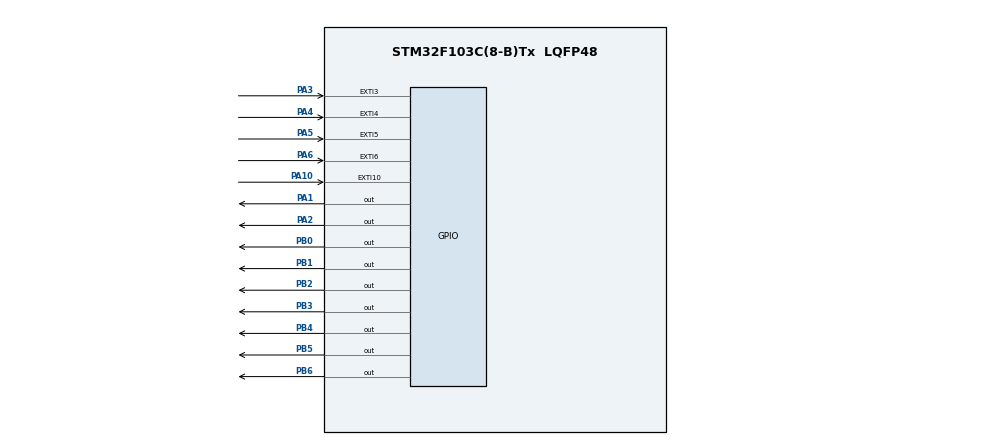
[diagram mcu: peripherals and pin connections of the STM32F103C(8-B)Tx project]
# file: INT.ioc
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Mcu.Family=STM32F1
Mcu.Name=STM32F103C(8-B)Tx
Mcu.Package=LQFP48
NVIC.EXTI15_10_IRQn=true\:2\:2\:true\:false\:true\:true\:true\:true
NVIC.EXTI3_IRQn=true\:2\:1\:true\:false\:true\:true\:true\:true
NVIC.EXTI4_IRQn=true\:1\:2\:true\:false\:true\:true\:true\:true
NVIC.EXTI9_5_IRQn=true\:2\:1\:true\:false\:true\:true\:true\:true
NVIC.PriorityGroup=NVIC_PRIORITYGROUP_2
PA1.Signal=GPIO_Output
PA10.Signal=GPXTI10
PA13.Mode=Serial_Wire
PA13.Signal=SYS_JTMS-SWDIO
PA14.Mode=Serial_Wire
PA14.Signal=SYS_JTCK-SWCLK
PA2.Signal=GPIO_Output
PA3.GPIO_ModeDefaultEXTI=GPIO_MODE_IT_FALLING
PA3.GPIO_PuPd=GPIO_PULLUP
PA3.Signal=GPXTI3
PA4.GPIO_ModeDefaultEXTI=GPIO_MODE_IT_FALLING
PA4.GPIO_PuPd=GPIO_PULLUP
PA4.Signal=GPXTI4
PA5.GPIO_ModeDefaultEXTI=GPIO_MODE_IT_FALLING
PA5.GPIO_PuPd=GPIO_PULLUP
PA5.Signal=GPXTI5
PA6.GPIO_ModeDefaultEXTI=GPIO_MODE_IT_FALLING
PA6.GPIO_PuPd=GPIO_PULLUP
PA6.Signal=GPXTI6
PB0.Signal=GPIO_Output
PB1.Signal=GPIO_Output
PB2.Signal=GPIO_Output
PB3.Signal=GPIO_Output
PB4.Signal=GPIO_Output
PB5.Signal=GPIO_Output
PB6.Signal=GPIO_Output
PD0-OSC_IN.Mode=HSE-External-Oscillator
PD0-OSC_IN.Signal=RCC_OSC_IN
PD1-OSC_OUT.Mode=HSE-External-Oscillator
PD1-OSC_OUT.Signal=RCC_OSC_OUT
ProjectManager.HeapSize=0x200
ProjectManager.StackSize=0x400
ProjectManager.TargetToolchain=STM32CubeIDE
RCC.APB1Freq_Value=8000000
RCC.APB2Freq_Value=8000000
board=custom

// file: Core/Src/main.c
/* USER CODE BEGIN Header */
/**
  ******************************************************************************
  * @file           : main.c
  * @brief          : Main program body
  ******************************************************************************
  * @attention
  *
  * Copyright (c) 2024 STMicroelectronics.
  * All rights reserved.
  *
  * This software is licensed under terms that can be found in the LICENSE file
  * in the root directory of this software component.
  * If no LICENSE file comes with this software, it is provided AS-IS.
  *
  ******************************************************************************
  */
/* USER CODE END Header */
#include "main.h"

/* USER CODE BEGIN PD */
void Print(uint8_t Val)
{
	if(Val == 0)
	{
		HAL_GPIO_WritePin(GPIOB, GPIO_PIN_0, GPIO_PIN_SET);
		HAL_GPIO_WritePin(GPIOB, GPIO_PIN_1, GPIO_PIN_RESET);
		HAL_GPIO_WritePin(GPIOB, GPIO_PIN_2, GPIO_PIN_RESET);
		HAL_GPIO_WritePin(GPIOB, GPIO_PIN_3, GPIO_PIN_RESET);
		HAL_GPIO_WritePin(GPIOB, GPIO_PIN_4, GPIO_PIN_RESET);
		HAL_GPIO_WritePin(GPIOB, GPIO_PIN_5, GPIO_PIN_RESET);
		HAL_GPIO_WritePin(GPIOB, GPIO_PIN_6, GPIO_PIN_RESET);
	}
  else if(Val == 1)
  {
		HAL_GPIO_WritePin(GPIOB, GPIO_PIN_0, GPIO_PIN_SET);
		HAL_GPIO_WritePin(GPIOB, GPIO_PIN_1, GPIO_PIN_SET);
		HAL_GPIO_WritePin(GPIOB, GPIO_PIN_2, GPIO_PIN_SET);
		HAL_GPIO_WritePin(GPIOB, GPIO_PIN_3, GPIO_PIN_SET);
		HAL_GPIO_WritePin(GPIOB, GPIO_PIN_4, GPIO_PIN_RESET);
		HAL_GPIO_WritePin(GPIOB, GPIO_PIN_5, GPIO_PIN_RESET);
		HAL_GPIO_WritePin(GPIOB, GPIO_PIN_6, GPIO_PIN_SET);
  }
  else if(Val == 2)
  {
		HAL_GPIO_WritePin(GPIOB, GPIO_PIN_0, GPIO_PIN_RESET);
		HAL_GPIO_WritePin(GPIOB, GPIO_PIN_1, GPIO_PIN_SET);
		HAL_GPIO_WritePin(GPIOB, GPIO_PIN_2, GPIO_PIN_RESET);
		HAL_GPIO_WritePin(GPIOB, GPIO_PIN_3, GPIO_PIN_RESET);
		HAL_GPIO_WritePin(GPIOB, GPIO_PIN_4, GPIO_PIN_SET);
		HAL_GPIO_WritePin(GPIOB, GPIO_PIN_5, GPIO_PIN_RESET);
		HAL_GPIO_WritePin(GPIOB, GPIO_PIN_6, GPIO_PIN_RESET);
  }
  else if(Val == 3)
  {
		HAL_GPIO_WritePin(GPIOB, GPIO_PIN_0, GPIO_PIN_RESET);
		HAL_GPIO_WritePin(GPIOB, GPIO_PIN_1, GPIO_PIN_SET);
		HAL_GPIO_WritePin(GPIOB, GPIO_PIN_2, GPIO_PIN_SET);
		HAL_GPIO_WritePin(GPIOB, GPIO_PIN_3, GPIO_PIN_RESET);
		HAL_GPIO_WritePin(GPIOB, GPIO_PIN_4, GPIO_PIN_RESET);
		HAL_GPIO_WritePin(GPIOB, GPIO_PIN_5, GPIO_PIN_RESET);
		HAL_GPIO_WritePin(GPIOB, GPIO_PIN_6, GPIO_PIN_RESET);
  }
  else if(Val == 4)
  {
		HAL_GPIO_WritePin(GPIOB, GPIO_PIN_0, GPIO_PIN_RESET);
		HAL_GPIO_WritePin(GPIOB, GPIO_PIN_1, GPIO_PIN_RESET);
		HAL_GPIO_WritePin(GPIOB, GPIO_PIN_2, GPIO_PIN_SET);
		HAL_GPIO_WritePin(GPIOB, GPIO_PIN_3, GPIO_PIN_SET);
		HAL_GPIO_WritePin(GPIOB, GPIO_PIN_4, GPIO_PIN_RESET);
		HAL_GPIO_WritePin(GPIOB, GPIO_PIN_5, GPIO_PIN_RESET);
		HAL_GPIO_WritePin(GPIOB, GPIO_PIN_6, GPIO_PIN_SET);
  }
  else if(Val == 5)
  {
		HAL_GPIO_WritePin(GPIOB, GPIO_PIN_0, GPIO_PIN_RESET);
		HAL_GPIO_WritePin(GPIOB, GPIO_PIN_1, GPIO_PIN_RESET);
		HAL_GPIO_WritePin(GPIOB, GPIO_PIN_2, GPIO_PIN_SET);
		HAL_GPIO_WritePin(GPIOB, GPIO_PIN_3, GPIO_PIN_RESET);
		HAL_GPIO_WritePin(GPIOB, GPIO_PIN_4, GPIO_PIN_RESET);
		HAL_GPIO_WritePin(GPIOB, GPIO_PIN_5, GPIO_PIN_SET);
		HAL_GPIO_WritePin(GPIOB, GPIO_PIN_6, GPIO_PIN_RESET);
  }
  else if(Val == 6)
  {
		HAL_GPIO_WritePin(GPIOB, GPIO_PIN_0, GPIO_PIN_RESET);
		HAL_GPIO_WritePin(GPIOB, GPIO_PIN_1, GPIO_PIN_RESET);
		HAL_GPIO_WritePin(GPIOB, GPIO_PIN_2, GPIO_PIN_RESET);
		HAL_GPIO_WritePin(GPIOB, GPIO_PIN_3, GPIO_PIN_RESET);
		HAL_GPIO_WritePin(GPIOB, GPIO_PIN_4, GPIO_PIN_RESET);
		HAL_GPIO_WritePin(GPIOB, GPIO_PIN_5, GPIO_PIN_SET);
		HAL_GPIO_WritePin(GPIOB, GPIO_PIN_6, GPIO_PIN_RESET);
  }
  else if(Val == 7)
  {
		HAL_GPIO_WritePin(GPIOB, GPIO_PIN_0, GPIO_PIN_SET);
		HAL_GPIO_WritePin(GPIOB, GPIO_PIN_1, GPIO_PIN_SET);
		HAL_GPIO_WritePin(GPIOB, GPIO_PIN_2, GPIO_PIN_SET);
		HAL_GPIO_WritePin(GPIOB, GPIO_PIN_3, GPIO_PIN_SET);
		HAL_GPIO_WritePin(GPIOB, GPIO_PIN_4, GPIO_PIN_RESET);
		HAL_GPIO_WritePin(GPIOB, GPIO_PIN_5, GPIO_PIN_RESET);
		HAL_GPIO_WritePin(GPIOB, GPIO_PIN_6, GPIO_PIN_RESET);
  }
  else if(Val == 8)
  {
		HAL_GPIO_WritePin(GPIOB, GPIO_PIN_0, GPIO_PIN_RESET);
		HAL_GPIO_WritePin(GPIOB, GPIO_PIN_1, GPIO_PIN_RESET);
		HAL_GPIO_WritePin(GPIOB, GPIO_PIN_2, GPIO_PIN_RESET);
		HAL_GPIO_WritePin(GPIOB, GPIO_PIN_3, GPIO_PIN_RESET);
		HAL_GPIO_WritePin(GPIOB, GPIO_PIN_4, GPIO_PIN_RESET);
		HAL_GPIO_WritePin(GPIOB, GPIO_PIN_5, GPIO_PIN_RESET);
		HAL_GPIO_WritePin(GPIOB, GPIO_PIN_6, GPIO_PIN_RESET);
  }
  else if(Val == 9)
  {
		HAL_GPIO_WritePin(GPIOB, GPIO_PIN_0, GPIO_PIN_RESET);
		HAL_GPIO_WritePin(GPIOB, GPIO_PIN_1, GPIO_PIN_RESET);
		HAL_GPIO_WritePin(GPIOB, GPIO_PIN_2, GPIO_PIN_SET);
		HAL_GPIO_WritePin(GPIOB, GPIO_PIN_3, GPIO_PIN_RESET);
		HAL_GPIO_WritePin(GPIOB, GPIO_PIN_4, GPIO_PIN_RESET);
		HAL_GPIO_WritePin(GPIOB, GPIO_PIN_5, GPIO_PIN_RESET);
		HAL_GPIO_WritePin(GPIOB, GPIO_PIN_6, GPIO_PIN_RESET);
  }
}

/* USER CODE END PD */

/* USER CODE BEGIN PV */
uint8_t Value = 0;
/* USER CODE END PV */

void SystemClock_Config(void);
static void MX_GPIO_Init(void);

/* USER CODE BEGIN 0 */
void HAL_GPIO_EXTI_Callback(uint16_t GPIO_Pin)
{
  /* Prevent unused argument(s) compilation warning */
  UNUSED(GPIO_Pin);
  /* NOTE: This function Should not be modified, when the callback is needed,
           the HAL_GPIO_EXTI_Callback could be implemented in the user file

   */
  if((GPIO_Pin==GPIO_PIN_3)){
	  Value = 3;
  }
  else if((GPIO_Pin==GPIO_PIN_4))
  {
	  Value = 4;
//	  if(Value == 0)Value = 9;
//	  else Value--;
  }
  else if((GPIO_Pin==GPIO_PIN_5))
  {
	  Value = 5;
  }
  else if((GPIO_Pin==GPIO_PIN_6))
  {
	  Value = 6;
  }
  else if((GPIO_Pin==GPIO_PIN_10))
  {
	  HAL_GPIO_TogglePin(GPIOA, GPIO_PIN_2);
  }
}
/* USER CODE END 0 */

int main(void)
{

  /* MCU Configuration--------------------------------------------------------*/

  /* Reset of all peripherals, Initializes the Flash interface and the Systick. */
  HAL_Init();

  /* Configure the system clock */
  SystemClock_Config();

  /* Initialize all configured peripherals */
  MX_GPIO_Init();

  /* Infinite loop */
  while (1)
  {

    /* USER CODE BEGIN 3 */
	  Print(Value);
	  HAL_Delay(100);
  }
  /* USER CODE END 3 */
}

void SystemClock_Config(void)
{
  RCC_OscInitTypeDef RCC_OscInitStruct = {0};
  RCC_ClkInitTypeDef RCC_ClkInitStruct = {0};

  /** Initializes the RCC Oscillators according to the specified parameters
  * in the RCC_OscInitTypeDef structure.
  */
  RCC_OscInitStruct.OscillatorType = RCC_OSCILLATORTYPE_HSI;
  RCC_OscInitStruct.HSIState = RCC_HSI_ON;
  RCC_OscInitStruct.HSICalibrationValue = RCC_HSICALIBRATION_DEFAULT;
  RCC_OscInitStruct.PLL.PLLState = RCC_PLL_NONE;
  if (HAL_RCC_OscConfig(&RCC_OscInitStruct) != HAL_OK)
  {
    Error_Handler();
  }

  /** Initializes the CPU, AHB and APB buses clocks
  */
  RCC_ClkInitStruct.ClockType = RCC_CLOCKTYPE_HCLK|RCC_CLOCKTYPE_SYSCLK
                              |RCC_CLOCKTYPE_PCLK1|RCC_CLOCKTYPE_PCLK2;
  RCC_ClkInitStruct.SYSCLKSource = RCC_SYSCLKSOURCE_HSI;
  RCC_ClkInitStruct.AHBCLKDivider = RCC_SYSCLK_DIV1;
  RCC_ClkInitStruct.APB1CLKDivider = RCC_HCLK_DIV1;
  RCC_ClkInitStruct.APB2CLKDivider = RCC_HCLK_DIV1;

  if (HAL_RCC_ClockConfig(&RCC_ClkInitStruct, FLASH_LATENCY_0) != HAL_OK)
  {
    Error_Handler();
  }
}

static void MX_GPIO_Init(void)
{
  GPIO_InitTypeDef GPIO_InitStruct = {0};
/* USER CODE BEGIN MX_GPIO_Init_1 */
  /*Configure GPIO pin : PB10 */
//  GPIO_InitStruct.Pin = GPIO_PIN_10;
//  GPIO_InitStruct.Mode = GPIO_MODE_IT_FALLING;
//  GPIO_InitStruct.Pull = GPIO_PULLUP;
//  HAL_GPIO_Init(GPIOA, &GPIO_InitStruct);
/* USER CODE END MX_GPIO_Init_1 */

  /* GPIO Ports Clock Enable */
  __HAL_RCC_GPIOD_CLK_ENABLE();
  __HAL_RCC_GPIOA_CLK_ENABLE();
  __HAL_RCC_GPIOB_CLK_ENABLE();

  /*Configure GPIO pin Output Level */
  HAL_GPIO_WritePin(GPIOA, GPIO_PIN_1|GPIO_PIN_2, GPIO_PIN_RESET);

  /*Configure GPIO pin Output Level */
  HAL_GPIO_WritePin(GPIOB, GPIO_PIN_0|GPIO_PIN_1|GPIO_PIN_2|GPIO_PIN_3
                          |GPIO_PIN_4|GPIO_PIN_5|GPIO_PIN_6, GPIO_PIN_RESET);

  /*Configure GPIO pins : PA1 PA2 */
  GPIO_InitStruct.Pin = GPIO_PIN_1|GPIO_PIN_2;
  GPIO_InitStruct.Mode = GPIO_MODE_OUTPUT_PP;
  GPIO_InitStruct.Pull = GPIO_NOPULL;
  GPIO_InitStruct.Speed = GPIO_SPEED_FREQ_LOW;
  HAL_GPIO_Init(GPIOA, &GPIO_InitStruct);

  /*Configure GPIO pins : PA3 PA4 PA5 PA6 */
  GPIO_InitStruct.Pin = GPIO_PIN_3|GPIO_PIN_4|GPIO_PIN_5|GPIO_PIN_6;
  GPIO_InitStruct.Mode = GPIO_MODE_IT_FALLING;
  GPIO_InitStruct.Pull = GPIO_PULLUP;
  HAL_GPIO_Init(GPIOA, &GPIO_InitStruct);

  /*Configure GPIO pins : PB0 PB1 PB2 PB3
                           PB4 PB5 PB6 */
  GPIO_InitStruct.Pin = GPIO_PIN_0|GPIO_PIN_1|GPIO_PIN_2|GPIO_PIN_3
                          |GPIO_PIN_4|GPIO_PIN_5|GPIO_PIN_6;
  GPIO_InitStruct.Mode = GPIO_MODE_OUTPUT_PP;
  GPIO_InitStruct.Pull = GPIO_NOPULL;
  GPIO_InitStruct.Speed = GPIO_SPEED_FREQ_LOW;
  HAL_GPIO_Init(GPIOB, &GPIO_InitStruct);

  /*Configure GPIO pin : PA10 */
  GPIO_InitStruct.Pin = GPIO_PIN_10;
  GPIO_InitStruct.Mode = GPIO_MODE_IT_RISING;
  GPIO_InitStruct.Pull = GPIO_NOPULL;
  HAL_GPIO_Init(GPIOA, &GPIO_InitStruct);

  /* EXTI interrupt init*/
  HAL_NVIC_SetPriority(EXTI3_IRQn, 2, 1);
  HAL_NVIC_EnableIRQ(EXTI3_IRQn);

  HAL_NVIC_SetPriority(EXTI4_IRQn, 1, 2);
  HAL_NVIC_EnableIRQ(EXTI4_IRQn);

  HAL_NVIC_SetPriority(EXTI9_5_IRQn, 2, 1);
  HAL_NVIC_EnableIRQ(EXTI9_5_IRQn);

  HAL_NVIC_SetPriority(EXTI15_10_IRQn, 2, 2);
  HAL_NVIC_EnableIRQ(EXTI15_10_IRQn);

}

void Error_Handler(void)
{
  __disable_irq();
  while (1)
  {
  }
}
